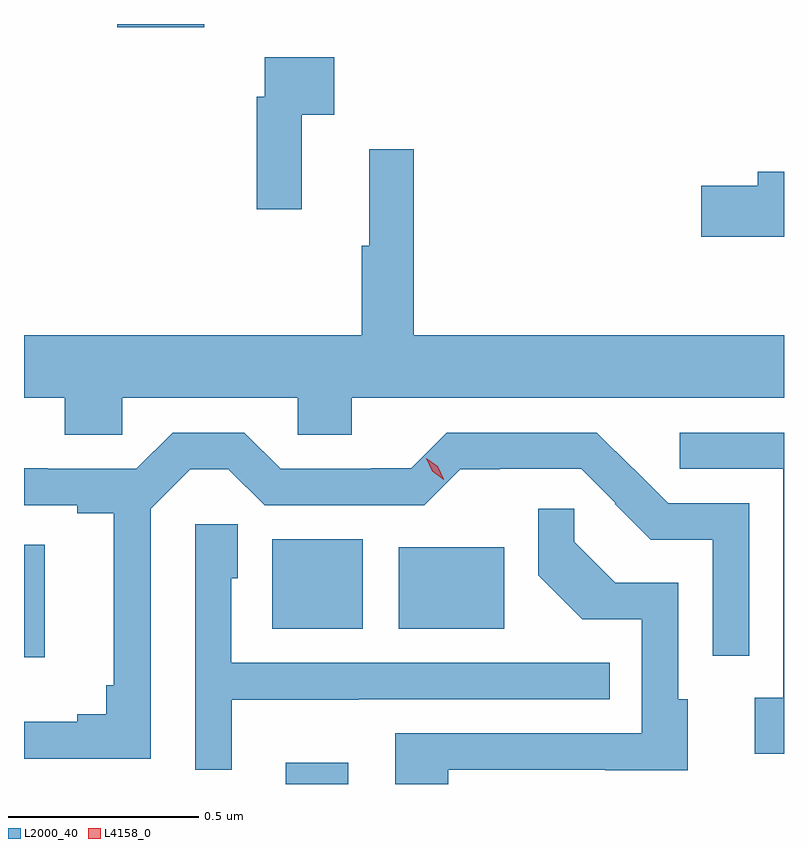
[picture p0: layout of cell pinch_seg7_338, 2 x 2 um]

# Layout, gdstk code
import gdstk
lib = gdstk.Library(unit=1e-6, precision=1e-09)
def R(c, l, rs):  # rectangles x0, y0, x1, y1
    for r in rs: c.add(gdstk.rectangle(r[:2], r[2:], *l))
def P(c, l, *ps):  # polygons
    for p in ps: c.add(gdstk.Polygon(p, *l))
L2000_40 = (2000, 40)
L4158_0 = (4158, 0)

pinch_seg7_338 = lib.new_cell('pinch_seg7_338')
R(pinch_seg7_338, L2000_40, [(399.563,1062.203,399.727,1062.259), (398.874,1062.536,398.929,1062.832), (399.527,1062.611,399.766,1062.847), (399.86,1062.611,400.138,1062.826), (399.12,1064.195,399.348,1064.203)])
P(pinch_seg7_338, L2000_40, [(399.605,1063.964),(399.691,1063.964),(399.691,1064.116),(399.507,1064.116),(399.507,1064.012),(399.487,1064.012),(399.487,1063.716),(399.605,1063.716)],
  [(399.132,1063.22),(399.594,1063.22),(399.594,1063.122),(399.736,1063.122),(399.736,1063.22),(400.874,1063.22),(400.874,1063.384),(399.899,1063.384),(399.899,1063.873),(399.782,1063.873),(399.782,1063.62),(399.763,1063.62),(399.763,1063.384),(398.874,1063.384),(398.874,1063.22),(398.981,1063.22),(398.981,1063.122),(399.132,1063.122)],
  [(400.874,1063.814),(400.805,1063.814),(400.805,1063.778),(400.656,1063.778),(400.656,1063.643),(400.874,1063.643)],
  [(400.874,1063.128),(400.599,1063.128),(400.599,1063.032),(400.872,1063.032),(400.872,1062.43),(400.797,1062.43),(400.797,1062.282),(400.874,1062.282)],
  [(398.903,1062.27),(399.207,1062.27),(399.207,1062.927),(399.311,1063.031),(399.412,1063.031),(399.507,1062.936),(399.927,1062.936),(400.022,1063.031),(400.126,1063.031),(400.126,1063.032),(400.341,1063.032),(400.431,1062.942),(400.429,1062.94),(400.523,1062.846),(400.686,1062.846),(400.686,1062.54),(400.782,1062.54),(400.782,1062.942),(400.569,1062.942),(400.478,1063.033),(400.477,1063.032),(400.381,1063.128),(399.987,1063.128),(399.893,1063.034),(399.788,1063.034),(399.788,1063.032),(399.549,1063.032),(399.453,1063.128),(399.266,1063.128),(399.17,1063.032),(398.937,1063.032),(398.937,1063.034),(398.874,1063.034),(398.874,1062.936),(399.014,1062.936),(399.014,1062.916),(399.11,1062.916),(399.11,1062.463),(399.091,1062.463),(399.091,1062.386),(399.014,1062.386),(399.014,1062.367),(398.874,1062.367),(398.874,1062.269),(398.903,1062.269)],
  [(399.991,1062.24),(400.403,1062.24),(400.403,1062.239),(400.621,1062.239),(400.621,1062.426),(400.596,1062.426),(400.596,1062.732),(400.43,1062.732),(400.322,1062.84),(400.322,1062.928),(400.227,1062.928),(400.227,1062.752),(400.343,1062.636),(400.5,1062.636),(400.5,1062.336),(399.851,1062.336),(399.851,1062.203),(399.991,1062.203)],
  [(399.421,1062.425),(399.755,1062.425),(399.755,1062.426),(400.415,1062.426),(400.415,1062.522),(399.42,1062.522),(399.42,1062.744),(399.436,1062.744),(399.436,1062.887),(399.324,1062.887),(399.324,1062.24),(399.421,1062.24)])
P(pinch_seg7_338, L4158_0, [(399.979,1063.004),(399.948,1063.026),(399.933,1063.06),(399.933,1063.06),(399.933,1063.06),(399.963,1063.039),(399.979,1063.005),(399.979,1063.004)])

lib.write_gds('pinch_seg7_338.gds')
